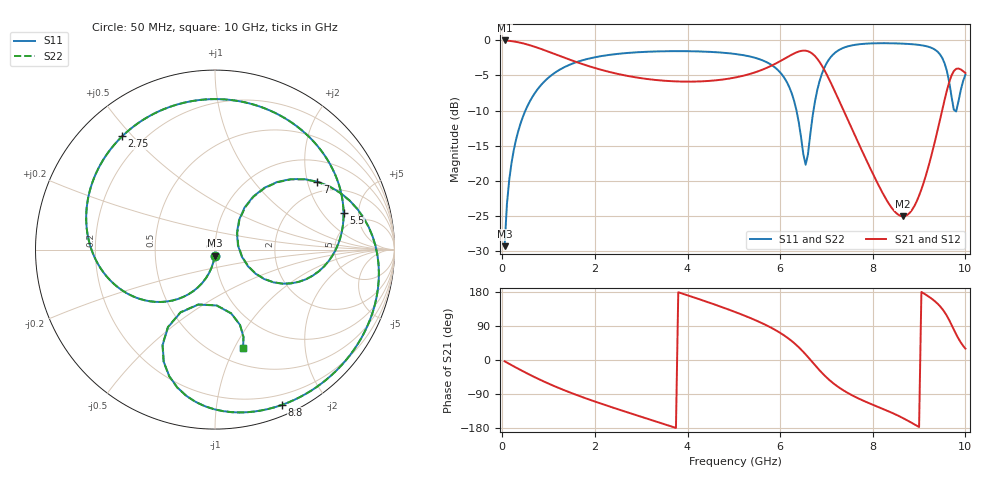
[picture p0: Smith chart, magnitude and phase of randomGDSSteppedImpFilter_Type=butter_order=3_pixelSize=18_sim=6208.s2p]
! freq	dB(S11)	phase(S11)	dB(S12)	phase(S12)
!  dB(S21)	phase(S21)	dB(S22)	phase(S22)
!S-par simulation data
#  GHz  S  DB  R 50
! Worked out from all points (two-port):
!   200 points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, 50 MHz to 10 GHz, reference 50 ohm
!   highest |S21| = -0.01 dB at 50 MHz (marker M1); lowest = -25.1 dB at 8.65 GHz (marker M2)
!   |S21| within 3 dB of the highest: start of sweep to 1.568 GHz; 5.987 GHz to 6.844 GHz (856.7 MHz wide, 13.4 % of centre)
!   lowest |S11| = -29.3 dB at 50 MHz (marker M3), VSWR 1.07, Z = 49.7 - j3.39 ohm
!   |S11| at or under -10 dB: start of sweep to 499.5 MHz; 6.353 GHz to 6.72 GHz (367.7 MHz wide, 5.63 % of centre); 9.773171 GHz to 9.804605 GHz (31.43 MHz wide, 0.321 % of centre)
!   |S22| runs from -29.3 to -0.4 dB; largest |S21 - S12| = 0
!   S11 on the Smith chart (normalised r, x): 50 MHz: 0.99, -0.07; 2.75 GHz: 0.12, +0.47; 5.5 GHz: 3.67, +3.34; 7 GHz: 1.62, +2.31; 8.8 GHz: 0.10, -1.51; 10 GHz: 0.67, -1.08
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0.05  -29.34 -93.6  -0.01 -3.4  -0.01 -3.4  -29.34 -93.6
0.2  -17.44 -104.1  -0.10 -13.6  -0.10 -13.6  -17.44 -104.1
0.5  -9.99 -123.7  -0.51 -33.1  -0.51 -33.1  -9.99 -123.7
1.05  -5.02 -155.6  -1.74 -65.1  -1.74 -65.1  -5.02 -155.7
1.75  -2.80 170.5  -3.42 -98.8  -3.42 -98.8  -2.80 170.5
2.75  -1.77 129.4  -5.12 -140.0  -5.12 -140.0  -1.77 129.3
3.4  -1.56 104.0  -5.70 -165.4  -5.70 -165.4  -1.56 104.0
4.2  -1.56 72.5  -5.86 162.6  -5.86 162.6  -1.56 72.5
5.05  -1.95 36.8  -5.26 125.7  -5.26 125.7  -1.95 36.8
5.5  -2.56 15.8  -4.46 103.2  -4.46 103.2  -2.56 15.8
6.25  -7.55 -26.9  -2.04 50.1  -2.04 50.1  -7.54 -26.8
6.55  -17.73 10.4  -1.47 14.8  -1.47 14.8  -17.62 10.4
6.7  -10.84 54.9  -1.91 -6.2  -1.91 -6.2  -10.82 54.5
7  -3.29 33.6  -4.78 -45.8  -4.78 -45.8  -3.29 33.4
7.5  -0.78 -4.8  -11.90 -89.7  -11.90 -89.7  -0.78 -5.0
8.35  -0.40 -47.0  -23.31 -135.9  -23.31 -135.9  -0.40 -47.1
8.65  -0.46 -60.0  -25.09 -153.2  -25.09 -153.2  -0.46 -60.1
8.8  -0.52 -66.7  -24.58 -163.0  -24.58 -163.0  -0.52 -66.8
9.25  -1.01 -90.2  -16.82 163.8  -16.82 163.8  -1.02 -90.3
9.55  -3.25 -114.5  -8.50 126.4  -8.50 126.4  -3.25 -114.6
9.8  -10.13 -88.3  -4.06 68.1  -4.06 68.1  -10.15 -88.3
10  -4.88 -74.1  -4.65 30.0  -4.65 30.0  -4.89 -74.1
